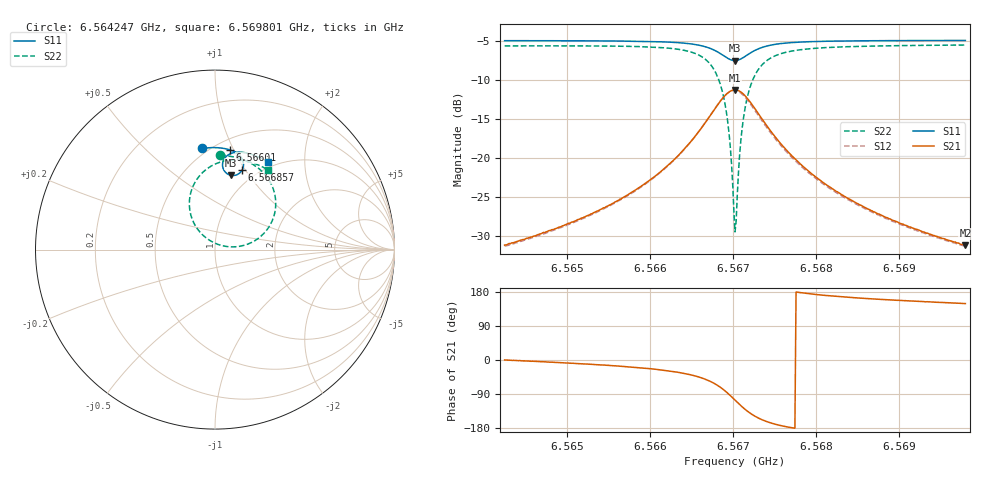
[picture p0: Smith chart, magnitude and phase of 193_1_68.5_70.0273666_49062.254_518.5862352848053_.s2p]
#  HZ  S  RI  R  50.00
! Rohde & Schwarz Vector Network Analyzer
! Rohde-Schwarz,ZNB20-2Port,1311601062101988,3.16
! Created: UTC 3/20/2024, 4:57:11 PM
! freq[Hz]  re:S11  im:S11  re:S21  im:S21  re:S12  im:S12  re:S22  im:S22
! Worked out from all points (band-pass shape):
!   401 points, 6.564247 GHz to 6.569801 GHz, reference 50 ohm
!   highest |S21| = -11.23 dB at 6.567024 GHz (marker M1); lowest = -31.3 dB at 6.569801 GHz (marker M2)
!   |S21| within 3 dB of the highest: 6.566745 GHz to 6.567301 GHz (556.1 kHz wide, 0.00847 % of centre)
!   lowest |S11| = -7.5 dB at 6.567024 GHz (marker M3), VSWR 2.47, Z = 40.9 + j41.2 ohm
!   |S11| at or under -10 dB: nowhere
!   |S22| runs from -29.5 to -5.5 dB; largest |S21 - S12| = 0.013
!   S11 on the Smith chart (normalised r, x): 6.564247 GHz: 0.46, +0.77; 6.56601 GHz: 0.59, +0.97; 6.566857 GHz: 0.85, +0.96; 6.569801 GHz: 0.92, +1.33
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6.5642469e9  -0.071 0.5648  0.0275 2.61e-05  0.027 -0.00054  0.0292 0.5259
6.5651772e9  0.00495 0.568  0.0404 -0.00718  0.0396 -0.0077  0.1163 0.5135
6.5660104e9  0.0817 0.5562  0.0671 -0.0286  0.066 -0.0294  0.2217 0.4682
6.5661076e9  0.0919 0.5526  0.072 -0.0343  0.0709 -0.0352  0.238 0.4565
6.5664131e9  0.1266 0.5338  0.0928 -0.0661  0.0914 -0.0674  0.2968 0.3939
6.5666353e9  0.1521 0.5032  0.1065 -0.1195  0.104 -0.1218  0.3361 0.2907
6.5667603e9  0.1589 0.4725  0.099 -0.1731  0.0948 -0.1762  0.3286 0.1882
6.5668575e9  0.1503 0.4416  0.0669 -0.2262  0.0594 -0.2291  0.2711 0.0891
6.5669408e9  0.1254 0.4186  0.00729 -0.263  -0.00351 -0.263  0.1618 0.0238
6.5669686e9  0.1135 0.4144  -0.019 -0.2687  -0.0304 -0.267  0.1146 0.0157
6.5670102e9  0.094 0.4132  -0.0607 -0.2674  -0.0721 -0.2627  0.0405 0.0218
6.5670241e9  0.0875 0.4142  -0.0744 -0.2641  -0.0857 -0.2584  0.0166 0.0289
6.567038e9  0.0811 0.416  -0.0877 -0.2596  -0.0987 -0.2529  -0.00654 0.0386
6.5670519e9  0.0751 0.4186  -0.1006 -0.2539  -0.1109 -0.2461  -0.0283 0.0506
6.5670935e9  0.0592 0.4296  -0.1341 -0.23  -0.1421 -0.2201  -0.0832 0.0968
6.5671352e9  0.0484 0.4444  -0.158 -0.2  -0.1633 -0.1889  -0.1199 0.1526
6.5671907e9  0.0422 0.4656  -0.1744 -0.158  -0.1765 -0.1472  -0.1414 0.2281
6.5672602e9  0.0444 0.4895  -0.177 -0.1115  -0.176 -0.1023  -0.1371 0.3088
6.5675101e9  0.0828 0.5329  -0.1341 -0.0248  -0.1311 -0.0209  -0.0395 0.4537
6.5679545e9  0.1435 0.5428  -0.0781 0.0083  -0.0763 0.00944  0.0889 0.4988
6.5688848e9  0.229 0.5213  -0.0378 0.0147  -0.0369 0.0151  0.2188 0.48
6.5698013e9  0.296 0.4883  -0.0234 0.0142  -0.023 0.0143  0.2978 0.4428
